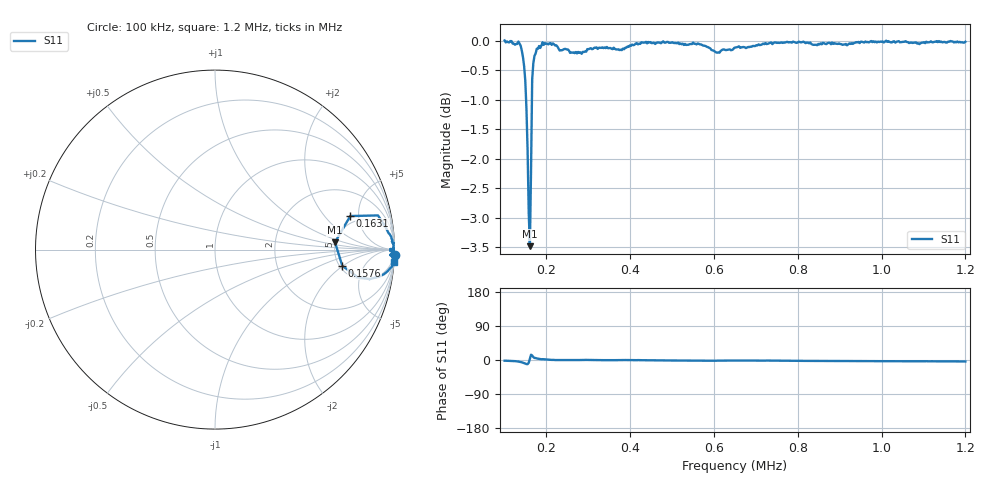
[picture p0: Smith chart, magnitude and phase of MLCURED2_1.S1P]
!Agilent Technologies,E5071C,MY46100265,A.07.02
!Date: Wed Mar 04 14:42:15 2020
!Data & Calibration Information:
!Freq	S11:SOLT1(ON)
# Hz S MA R 50
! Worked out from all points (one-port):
!   402 points, 100 kHz to 1.2 MHz, reference 50 ohm
!   lowest |S11| = -3.5 dB at 160.3 kHz (marker M1), VSWR 5.06, Z = 247 + j36.8 ohm
!   |S11| at or under -10 dB: nowhere
!   S11 on the Smith chart (normalised r, x): 100 kHz: -2, -62; 157.6 kHz: 5.27, -1.94; 163.1 kHz: 4.15, +3.91; 1.2 MHz: 1, -29
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100000  1.001 -1.9
127431  0.9942 -3.4
135661  0.995 -4.8
141147  0.981 -6.1
146633  0.9517 -8.3
149377  0.9252 -9.4
152120  0.8767 -10.8
154863  0.8078 -10.9
157606  0.7148 -7.2
160349  0.6698 3.5
163092  0.7767 13.9
165835  0.9279 11.8
168579  0.9577 7.7
171322  0.9714 5.4
176808  0.9851 4.1
187781  0.9911 2.0
206983  0.9955 0.6
239900  0.9834 -0.0
377057  0.983 -0.2
431920  0.9967 -0.6
514214  0.9968 -1.4
566334  0.9934 -1.9
607481  0.9776 -1.7
651372  0.9874 -1.4
788529  0.9988 -2.1
925686  0.9943 -2.5
1062843  0.9977 -3.3
1200000  0.9986 -3.9
